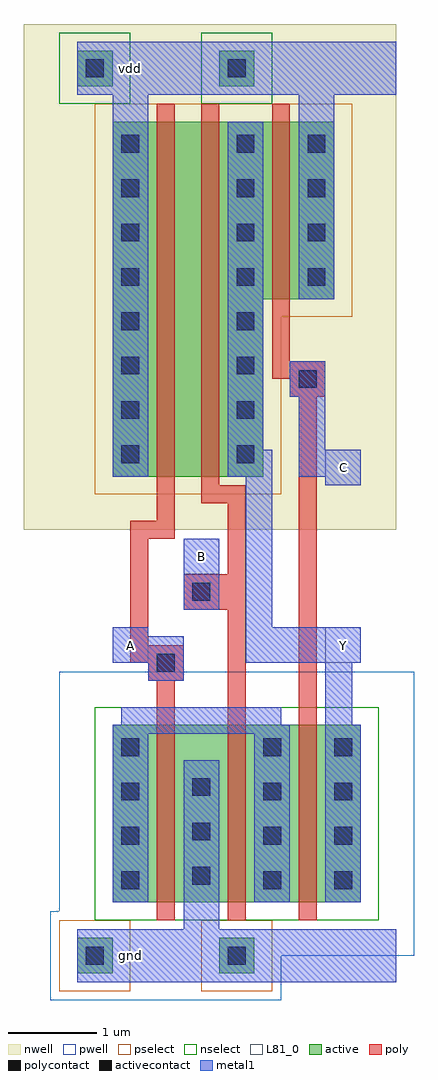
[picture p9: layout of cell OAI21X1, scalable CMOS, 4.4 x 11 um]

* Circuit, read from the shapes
.subckt OAI21X1 A B C Y gnd vdd
M1 gnd A n1 gnd nfet w=2u l=0.2u
M2 n1 B gnd gnd nfet w=2u l=0.2u
M3 Y C n1 gnd nfet w=2u l=0.2u
M4 n2 A vdd vdd pfet w=4u l=0.2u
M5 Y B n2 vdd pfet w=4u l=0.2u
M6 vdd C Y vdd pfet w=2u l=0.2u
.ends

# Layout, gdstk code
import gdstk
lib = gdstk.Library(unit=1e-6, precision=1e-09)
def R(c, l, rs):  # rectangles x0, y0, x1, y1
    for r in rs: c.add(gdstk.rectangle(r[:2], r[2:], *l))
def A(c, l, x, y, w, h, nx, ny, dx, dy):  # array of equal rectangles
    R(c, l, [(x+i*dx, y+j*dy, x+i*dx+w, y+j*dy+h) for i in range(nx) for j in range(ny)])
pwell = (41, 0)
nwell = (42, 0)
active = (43, 0)
pselect = (44, 0)
nselect = (45, 0)
poly = (46, 0)
polycontact = (47, 0)
activecontact = (48, 0)
metal1 = (49, 0)
L81_0 = (81, 0)

oai21x1 = lib.new_cell('OAI21X1')
R(oai21x1, pwell, [(-0.5,-0.5,2.1,0), (-0.5,0,3.6,0.5), (-0.4,0.5,3.6,3.2)])
R(oai21x1, nwell, [(-0.8,4.8,3.4,10.5)])
R(oai21x1, active, [(-0.2,-0.2,0.2,0.2), (1.4,-0.2,1.8,0.2), (0.2,0.6,3,2.6), (0.2,5.4,1.9,7.4), (0.2,7.4,2.7,9.4), (-0.2,9.8,0.2,10.2), (1.4,9.8,1.8,10.2)])
R(oai21x1, pselect, [(-0.4,-0.4,0.4,0.4), (1.2,-0.4,2,0.4), (0,5.2,2.1,7.2), (0,7.2,2.9,9.6)])
R(oai21x1, nselect, [(0,0.4,3.2,2.8), (-0.4,9.6,0.4,10.4), (1.2,9.6,2,10.4)])
R(oai21x1, poly, [(0.7,0.4,0.9,3.1), (1.5,0.4,1.7,3.9), (2.3,0.4,2.5,6.3), (0.6,3.1,1,3.3), (0.4,3.3,1,3.5), (0.4,3.5,0.6,4.7), (1,3.9,1.7,4.3), (1.5,4.3,1.7,5.1), (0.4,4.7,0.9,4.9), (0.7,4.9,0.9,9.6), (1.2,5.1,1.7,5.3), (1.2,5.3,1.4,9.6), (2.2,6.3,2.6,6.5), (2,6.5,2.6,6.7), (2,6.7,2.2,9.6)])
R(oai21x1, polycontact, [(0.7,3.2,0.9,3.4), (1.1,4,1.3,4.2), (2.3,6.4,2.5,6.6)])
A(oai21x1, activecontact, 0.3, 0.75, 0.2, 0.2, 1, 4, 0, 0.5)
A(oai21x1, activecontact, 1.9, 0.75, 0.2, 0.2, 1, 4, 0, 0.5)
A(oai21x1, activecontact, 2.7, 0.75, 0.2, 0.2, 1, 4, 0, 0.5)
A(oai21x1, activecontact, 1.1, 0.8, 0.2, 0.2, 1, 3, 0, 0.5)
A(oai21x1, activecontact, 0.3, 5.55, 0.2, 0.2, 1, 8, 0, 0.5)
A(oai21x1, activecontact, 1.6, 5.55, 0.2, 0.2, 1, 8, 0, 0.5)
A(oai21x1, activecontact, 2.4, 7.55, 0.2, 0.2, 1, 4, 0, 0.5)
R(oai21x1, activecontact, [(-0.1,-0.1,0.1,0.1), (1.5,-0.1,1.7,0.1), (-0.1,9.9,0.1,10.1), (1.5,9.9,1.7,10.1)])
R(oai21x1, metal1, [(-0.2,-0.3,3.4,0.3), (1,0.3,1.4,2.2), (0.2,0.6,0.6,2.5), (1.8,0.6,2.2,2.5), (2.6,0.6,3,2.6), (0.2,2.5,2.2,2.6), (0.3,2.6,2.1,2.8), (2.6,2.6,2.9,3.3), (0.6,3.1,1,3.3), (0.2,3.3,1,3.6), (1.7,3.3,3,3.7), (0.2,3.6,0.6,3.7), (1.7,3.7,2,5.4), (1,3.9,1.4,4.7), (2.6,5.3,3,5.4), (0.2,5.4,0.6,9.7), (1.5,5.4,2,5.7), (2.3,5.4,3,5.7), (1.5,5.7,1.9,9.4), (2.3,5.7,2.6,6.3), (2.2,6.3,2.6,6.7), (2.3,7.4,2.7,9.7), (-0.2,9.7,3.4,10.3)])
R(oai21x1, L81_0, [(0.2,3.3,0.6,3.7), (2.6,3.3,3,3.7), (1,4.3,1.4,4.7), (2.6,5.3,3,5.7)])
oai21x1.add(gdstk.Label('gnd', (0.4,0), layer=49, texttype=0))
oai21x1.add(gdstk.Label('vdd', (0.4,10), layer=49, texttype=0))
oai21x1.add(gdstk.Label('A', (0.4,3.5), layer=49, texttype=0))
oai21x1.add(gdstk.Label('B', (1.2,4.5), layer=49, texttype=0))
oai21x1.add(gdstk.Label('Y', (2.8,3.5), layer=49, texttype=0))
oai21x1.add(gdstk.Label('C', (2.8,5.5), layer=49, texttype=0))

lib.write_gds('OAI21X1.gds')
